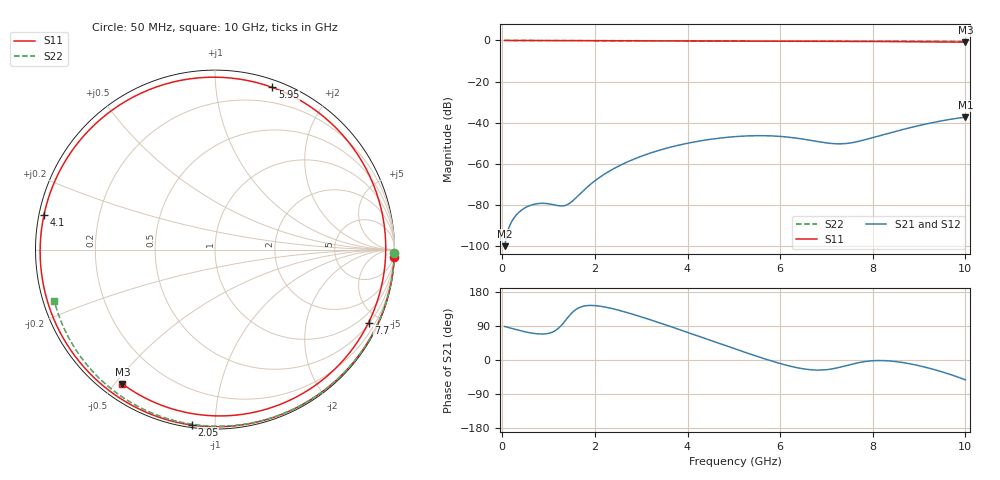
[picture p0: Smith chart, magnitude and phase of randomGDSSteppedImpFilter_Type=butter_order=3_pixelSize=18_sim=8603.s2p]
! freq	dB(S11)	phase(S11)	dB(S12)	phase(S12)
!  dB(S21)	phase(S21)	dB(S22)	phase(S22)
!S-par simulation data
#  GHz  S  DB  R 50
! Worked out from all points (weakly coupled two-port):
!   200 points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, 50 MHz to 10 GHz, reference 50 ohm
!   highest |S21| = -37.27 dB at 10 GHz (marker M1); lowest = -99.9 dB at 50 MHz (marker M2)
!   lowest |S11| = -0.8 dB at 10 GHz (marker M3), VSWR 20.94, Z = 3.04 - j26.2 ohm
!   |S11| at or under -10 dB: nowhere
!   |S22| runs from -0.5 to 0.0 dB; largest |S21 - S12| = 0
!   S11 on the Smith chart (normalised r, x): 50 MHz: 0, -46; 2.05 GHz: 0.01, -0.88; 4.1 GHz: 0.01, +0.10; 5.95 GHz: 0.06, +1.41; 7.7 GHz: 0.55, -4.37; 10 GHz: 0.06, -0.52
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0.05  -0.00 -2.5  -99.93 88.5  -99.93 88.5  -0.00 -1.0
0.65  -0.04 -31.8  -79.79 70.7  -79.79 70.7  -0.01 -12.2
1.05  -0.06 -51.1  -79.52 72.1  -79.52 72.1  -0.02 -19.6
1.4  -0.09 -67.6  -79.81 109.9  -79.81 109.9  -0.03 -26.0
1.75  -0.10 -83.9  -72.95 141.9  -72.95 141.9  -0.04 -32.4
2.05  -0.12 -97.6  -67.34 143.0  -67.34 143.0  -0.05 -37.8
2.7  -0.16 -126.9  -59.02 125.0  -59.02 125.0  -0.06 -49.3
3.4  -0.20 -158.6  -53.27 97.9  -53.27 97.9  -0.08 -61.3
3.75  -0.22 -174.8  -51.18 83.4  -51.18 83.4  -0.09 -67.2
4.1  -0.24 168.6  -49.49 68.6  -49.49 68.6  -0.10 -73.0
4.55  -0.28 146.4  -47.85 49.5  -47.85 49.5  -0.12 -80.4
5.05  -0.31 120.4  -46.68 28.4  -46.68 28.4  -0.14 -88.4
5.5  -0.34 95.9  -46.26 9.7  -46.26 9.7  -0.16 -95.4
5.95  -0.37 70.5  -46.54 -7.6  -46.54 -7.6  -0.18 -102.3
6.3  -0.39 50.6  -47.30 -18.7  -47.30 -18.7  -0.20 -107.6
6.7  -0.40 27.9  -48.68 -26.1  -48.68 -26.1  -0.22 -113.6
7.2  -0.43 0.4  -50.18 -21.7  -50.18 -21.7  -0.26 -121.0
7.7  -0.47 -25.4  -48.97 -6.9  -48.97 -6.9  -0.30 -128.3
8.35  -0.54 -56.3  -45.00 -2.4  -45.00 -2.4  -0.35 -137.9
8.75  -0.60 -73.9  -42.67 -8.8  -42.67 -8.8  -0.39 -143.7
9.15  -0.67 -90.6  -40.59 -19.5  -40.59 -19.5  -0.44 -149.6
10  -0.83 -124.6  -37.27 -52.3  -37.27 -52.3  -0.54 -162.3
